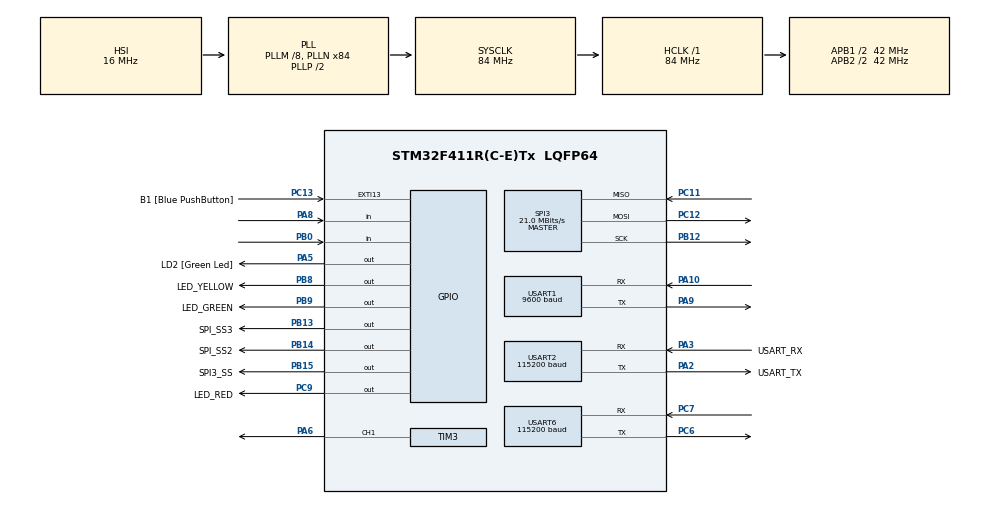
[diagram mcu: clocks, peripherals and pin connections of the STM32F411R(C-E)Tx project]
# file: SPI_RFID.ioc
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FREERTOS.Events01=scanCardAvailable,Dynamic,NULL;parsingCMDAvailable,Dynamic,NULL;servoControlIsAvailable,Dynamic,NULL
FREERTOS.Mutexes01=mutex_uart2,Dynamic,NULL;mutex_uart6,Dynamic,NULL
FREERTOS.Queues01=cardID_Queue,1,WareHouse_t,0,Dynamic,NULL,NULL;sensorData_Queue,3,WareHouse_t,0,Dynamic,NULL,NULL
FREERTOS.Tasks01=CmdParsing,8,256,CmdParsing_Task,Default,NULL,Dynamic,NULL,NULL;ToggleLed,8,128,ToggleLed_Task,Default,NULL,Dynamic,NULL,NULL;ScanCard,8,512,ScanCard_Task,Default,NULL,Dynamic,NULL,NULL;SensorMeasuring,8,512,SensorMeasuring_Task,Default,NULL,Dynamic,NULL,NULL;SendCardID,8,512,SendCardID_Task,Default,NULL,Dynamic,NULL,NULL;SendSensorData,8,512,SendSensorData_Task,Default,NULL,Dynamic,NULL,NULL;ServoControl,8,512,ServoControl_task,Default,NULL,Dynamic,NULL,NULL
FREERTOS.configUSE_NEWLIB_REENTRANT=1
Mcu.Family=STM32F4
Mcu.Name=STM32F411R(C-E)Tx
Mcu.Package=LQFP64
NVIC.PriorityGroup=NVIC_PRIORITYGROUP_4
NVIC.TIM4_IRQn=true\:15\:0\:false\:false\:true\:false\:false\:true
NVIC.TimeBase=TIM4_IRQn
NVIC.TimeBaseIP=TIM4
NVIC.USART1_IRQn=true\:5\:0\:false\:false\:true\:true\:true\:true
NVIC.USART6_IRQn=true\:5\:0\:false\:false\:true\:true\:true\:true
PA10.Mode=Asynchronous
PA10.Signal=USART1_RX
PA13.GPIO_Label=TMS
PA13.Mode=Serial_Wire
PA13.Signal=SYS_JTMS-SWDIO
PA14.GPIO_Label=TCK
PA14.Mode=Serial_Wire
PA14.Signal=SYS_JTCK-SWCLK
PA2.GPIO_Label=USART_TX
PA2.Mode=Asynchronous
PA2.Signal=USART2_TX
PA3.GPIO_Label=USART_RX
PA3.Mode=Asynchronous
PA3.Signal=USART2_RX
PA5.GPIO_Label=LD2 [Green Led]
PA5.Signal=GPIO_Output
PA6.Signal=S_TIM3_CH1
PA8.GPIO_PuPd=GPIO_PULLUP
PA8.Signal=GPIO_Input
PA9.Mode=Asynchronous
PA9.Signal=USART1_TX
PB0.GPIO_PuPd=GPIO_PULLUP
PB0.Signal=GPIO_Input
PB12.Mode=Full_Duplex_Master
PB12.Signal=SPI3_SCK
PB13.GPIO_Label=SPI_SS3
PB13.Signal=GPIO_Output
PB14.GPIO_Label=SPI_SS2
PB14.Signal=GPIO_Output
PB15.GPIO_Label=SPI3_SS
PB15.PinState=GPIO_PIN_SET
PB15.Signal=GPIO_Output
PB3.GPIO_Label=SWO
PB3.Signal=SYS_JTDO-SWO
PB8.GPIO_Label=LED_YELLOW
PB8.Signal=GPIO_Output
PB9.GPIO_Label=LED_GREEN
PB9.Signal=GPIO_Output
PC11.Mode=Full_Duplex_Master
PC11.Signal=SPI3_MISO
PC12.Mode=Full_Duplex_Master
PC12.Signal=SPI3_MOSI
PC13-ANTI_TAMP.GPIO_Label=B1 [Blue PushButton]
PC13-ANTI_TAMP.GPIO_ModeDefaultEXTI=GPIO_MODE_IT_FALLING
PC13-ANTI_TAMP.Signal=GPXTI13
PC14-OSC32_IN.Mode=LSE-External-Oscillator
PC14-OSC32_IN.Signal=RCC_OSC32_IN
PC15-OSC32_OUT.Mode=LSE-External-Oscillator
PC15-OSC32_OUT.Signal=RCC_OSC32_OUT
PC6.Mode=Asynchronous
PC6.Signal=USART6_TX
PC7.Mode=Asynchronous
PC7.Signal=USART6_RX
PC9.GPIO_Label=LED_RED
PC9.Signal=GPIO_Output
PH0\ -\ OSC_IN.Mode=HSE-External-Clock-Source
PH0\ -\ OSC_IN.Signal=RCC_OSC_IN
PH1\ -\ OSC_OUT.Mode=HSE-External-Clock-Source
PH1\ -\ OSC_OUT.Signal=RCC_OSC_OUT
ProjectManager.HeapSize=0x200
ProjectManager.StackSize=0x400
ProjectManager.TargetToolchain=STM32CubeIDE
RCC.48MHZClocksFreq_Value=42000000
RCC.AHBFreq_Value=84000000
RCC.APB1CLKDivider=RCC_HCLK_DIV2
RCC.APB1Freq_Value=42000000
RCC.APB1TimFreq_Value=84000000
RCC.APB2CLKDivider=RCC_HCLK_DIV2
RCC.APB2Freq_Value=42000000
RCC.APB2TimFreq_Value=84000000
RCC.CortexFreq_Value=84000000
RCC.FLatency-AdvancedSettings=FLASH_LATENCY_2
RCC.HCLKFreq_Value=84000000
RCC.HSE_VALUE=8000000
RCC.HSI_VALUE=16000000
RCC.PLLM=8
RCC.PLLN=84
RCC.SYSCLKFreq_VALUE=84000000
RCC.SYSCLKSource=RCC_SYSCLKSOURCE_PLLCLK
RCC.VCOOutputFreq_Value=168000000
SH.S_TIM3_CH1.0=TIM3_CH1,PWM Generation1 CH1
SPI3.CalculateBaudRate=21.0 MBits/s
SPI3.Direction=SPI_DIRECTION_2LINES
SPI3.Mode=SPI_MODE_MASTER
SPI3.VirtualType=VM_MASTER
TIM10.Prescaler=84-1
TIM3.Channel-PWM\ Generation1\ CH1=TIM_CHANNEL_1
TIM3.Period=19999
TIM3.Prescaler=83
USART1.BaudRate=9600
USART1.VirtualMode=VM_ASYNC
USART2.BaudRate=115200
USART2.VirtualMode=VM_ASYNC
USART6.BaudRate=115200
USART6.VirtualMode=VM_ASYNC
VP_FREERTOS_VS_CMSIS_V2.Mode=CMSIS_V2
VP_SYS_VS_tim4.Mode=TIM4
VP_TIM10_VS_ClockSourceINT.Mode=Enable_Timer
VP_TIM3_VS_ClockSourceINT.Mode=Internal
board=NUCLEO-F411RE

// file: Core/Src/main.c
/* USER CODE BEGIN Header */
/**
 ******************************************************************************
 * @file           : main.c
 * @brief          : Main program body
 ******************************************************************************
 * @attention
 *
 * <h2><center>&copy; Copyright (c) 2021 STMicroelectronics.
 * All rights reserved.</center></h2>
 *
 * This software component is licensed by ST under BSD 3-Clause license,
 * the "License"; You may not use this file except in compliance with the
 * License. You may obtain a copy of the License at:
 *                        opensource.org/licenses/BSD-3-Clause
 *
 ******************************************************************************
 */
/* USER CODE END Header */
#include "main.h"
#include "cmsis_os.h"

/* USER CODE BEGIN Includes */
#include <string.h>
#include <stdlib.h>
#include "MFRC522.h"
#include "dht11.h"
#include "servo.h"

/* USER CODE END Includes */

/* USER CODE BEGIN PD */

// type of data to send to server
#define Sensor_DATA 5
#define CardID_DATA 6

// type of command received from server
#define SCAN_CARDID 1
#define TOGGLE_LED  2
#define SENSOR_MEASURING 3

/* USER CODE END PD */

SPI_HandleTypeDef hspi3;

TIM_HandleTypeDef htim3;
TIM_HandleTypeDef htim10;

UART_HandleTypeDef huart1;
UART_HandleTypeDef huart2;
UART_HandleTypeDef huart6;

/* Definitions for CmdParsing */
osThreadId_t CmdParsingHandle;
const osThreadAttr_t CmdParsing_attributes = {
  .name = "CmdParsing",
  .stack_size = 256 * 4,
  .priority = (osPriority_t) osPriorityLow,
};
/* Definitions for ToggleLed */
osThreadId_t ToggleLedHandle;
const osThreadAttr_t ToggleLed_attributes = {
  .name = "ToggleLed",
  .stack_size = 128 * 4,
  .priority = (osPriority_t) osPriorityLow,
};
/* Definitions for ScanCard */
osThreadId_t ScanCardHandle;
const osThreadAttr_t ScanCard_attributes = {
  .name = "ScanCard",
  .stack_size = 512 * 4,
  .priority = (osPriority_t) osPriorityLow,
};
/* Definitions for SensorMeasuring */
osThreadId_t SensorMeasuringHandle;
const osThreadAttr_t SensorMeasuring_attributes = {
  .name = "SensorMeasuring",
  .stack_size = 512 * 4,
  .priority = (osPriority_t) osPriorityLow,
};
/* Definitions for SendCardID */
osThreadId_t SendCardIDHandle;
const osThreadAttr_t SendCardID_attributes = {
  .name = "SendCardID",
  .stack_size = 512 * 4,
  .priority = (osPriority_t) osPriorityLow,
};
/* Definitions for SendSensorData */
osThreadId_t SendSensorDataHandle;
const osThreadAttr_t SendSensorData_attributes = {
  .name = "SendSensorData",
  .stack_size = 512 * 4,
  .priority = (osPriority_t) osPriorityLow,
};
/* Definitions for ServoControl */
osThreadId_t ServoControlHandle;
const osThreadAttr_t ServoControl_attributes = {
  .name = "ServoControl",
  .stack_size = 512 * 4,
  .priority = (osPriority_t) osPriorityLow,
};
/* Definitions for cardID_Queue */
osMessageQueueId_t cardID_QueueHandle;
const osMessageQueueAttr_t cardID_Queue_attributes = {
  .name = "cardID_Queue"
};
/* Definitions for sensorData_Queue */
osMessageQueueId_t sensorData_QueueHandle;
const osMessageQueueAttr_t sensorData_Queue_attributes = {
  .name = "sensorData_Queue"
};
/* Definitions for mutex_uart2 */
osMutexId_t mutex_uart2Handle;
const osMutexAttr_t mutex_uart2_attributes = {
  .name = "mutex_uart2"
};
/* Definitions for mutex_uart6 */
osMutexId_t mutex_uart6Handle;
const osMutexAttr_t mutex_uart6_attributes = {
  .name = "mutex_uart6"
};
/* Definitions for scanCardAvailable */
osEventFlagsId_t scanCardAvailableHandle;
const osEventFlagsAttr_t scanCardAvailable_attributes = {
  .name = "scanCardAvailable"
};
/* Definitions for parsingCMDAvailable */
osEventFlagsId_t parsingCMDAvailableHandle;
const osEventFlagsAttr_t parsingCMDAvailable_attributes = {
  .name = "parsingCMDAvailable"
};
/* Definitions for servoControlIsAvailable */
osEventFlagsId_t servoControlIsAvailableHandle;
const osEventFlagsAttr_t servoControlIsAvailable_attributes = {
  .name = "servoControlIsAvailable"
};

void SystemClock_Config(void);
static void MX_GPIO_Init(void);
static void MX_USART2_UART_Init(void);
static void MX_SPI3_Init(void);
static void MX_USART6_UART_Init(void);
static void MX_USART1_UART_Init(void);
static void MX_TIM10_Init(void);
static void MX_TIM3_Init(void);
void CmdParsing_Task(void *argument);
void ToggleLed_Task(void *argument);
void ScanCard_Task(void *argument);
void SensorMeasuring_Task(void *argument);
void SendCardID_Task(void *argument);
void SendSensorData_Task(void *argument);
void ServoControl_task(void *argument);

/* USER CODE BEGIN PFP */
void sendDataToServer(volatile WareHouse_t* wareHouse, uint8_t typeOfData);
void scanCardIdHandle(uint8_t wareHouseId);
void toggleLEDHanlde(uint8_t wareHouseId, uint8_t ledId, uint8_t state);
/* USER CODE END PFP */

/* USER CODE BEGIN 0 */

//**** Data to working with FRID ****
extern uchar senddata[];
extern uchar keyA[6];
extern uchar keyA_new[6];
extern uchar keyB[6] ;
extern uchar keyB_new[6];

//**** Data of ware house ****
volatile WareHouse_t wareHouse_1, wareHouse_2, wareHouse_3;

volatile char uartReceivedData[16];

volatile uint8_t receivedDataFromServer[8]={0};

volatile uint8_t sensorMeasuringIsEnable = 1;

volatile uint8_t cmdToSend[8]={0}; 		// this is used for send CMD to Slave

volatile DHT_DataTypeDef DHT_Data;	// Data to store temperature and humidity

//**** RTOS object ****
osMutexId_t mutex_id;

/* USER CODE END 0 */

int main(void)
{
  /* USER CODE BEGIN 1 */
	wareHouse_1.index = 1;
	wareHouse_2.index = 2;
	wareHouse_3.index = 3;

  /* USER CODE END 1 */

  /* MCU Configuration--------------------------------------------------------*/

  /* Reset of all peripherals, Initializes the Flash interface and the Systick. */
  HAL_Init();

  /* Configure the system clock */
  SystemClock_Config();

  /* Initialize all configured peripherals */
  MX_GPIO_Init();
  MX_USART2_UART_Init();
  MX_SPI3_Init();
  MX_USART6_UART_Init();
  MX_USART1_UART_Init();
  MX_TIM10_Init();
  MX_TIM3_Init();
  /* USER CODE BEGIN 2 */
  MFRC522_Init();
  HAL_UART_Transmit(&huart2, (uchar*) "\n\rSerial Connected...\n\r", 23, 5000);

  /* USER CODE END 2 */

  /* Init scheduler */
  osKernelInitialize();
  /* Create the mutex(es) */
  /* creation of mutex_uart2 */
  mutex_uart2Handle = osMutexNew(&mutex_uart2_attributes);

  /* creation of mutex_uart6 */
  mutex_uart6Handle = osMutexNew(&mutex_uart6_attributes);

  /* Create the queue(s) */
  /* creation of cardID_Queue */
  cardID_QueueHandle = osMessageQueueNew (1, sizeof(WareHouse_t), &cardID_Queue_attributes);

  /* creation of sensorData_Queue */
  sensorData_QueueHandle = osMessageQueueNew (3, sizeof(WareHouse_t), &sensorData_Queue_attributes);

  /* Create the thread(s) */
  /* creation of CmdParsing */
  CmdParsingHandle = osThreadNew(CmdParsing_Task, NULL, &CmdParsing_attributes);

  /* creation of ToggleLed */
  ToggleLedHandle = osThreadNew(ToggleLed_Task, NULL, &ToggleLed_attributes);

  /* creation of ScanCard */
  ScanCardHandle = osThreadNew(ScanCard_Task, NULL, &ScanCard_attributes);

  /* creation of SensorMeasuring */
  SensorMeasuringHandle = osThreadNew(SensorMeasuring_Task, NULL, &SensorMeasuring_attributes);

  /* creation of SendCardID */
  SendCardIDHandle = osThreadNew(SendCardID_Task, NULL, &SendCardID_attributes);

  /* creation of SendSensorData */
  SendSensorDataHandle = osThreadNew(SendSensorData_Task, NULL, &SendSensorData_attributes);

  /* creation of ServoControl */
  ServoControlHandle = osThreadNew(ServoControl_task, NULL, &ServoControl_attributes);

  /* creation of scanCardAvailable */
  scanCardAvailableHandle = osEventFlagsNew(&scanCardAvailable_attributes);

  /* creation of parsingCMDAvailable */
  parsingCMDAvailableHandle = osEventFlagsNew(&parsingCMDAvailable_attributes);

  /* creation of servoControlIsAvailable */
  servoControlIsAvailableHandle = osEventFlagsNew(&servoControlIsAvailable_attributes);

  /* Start scheduler */
  osKernelStart();

  /* We should never get here as control is now taken by the scheduler */
  /* Infinite loop */
	while (1) {

	}
}

void SystemClock_Config(void)
{
  RCC_OscInitTypeDef RCC_OscInitStruct = {0};
  RCC_ClkInitTypeDef RCC_ClkInitStruct = {0};

  /** Configure the main internal regulator output voltage
  */
  __HAL_RCC_PWR_CLK_ENABLE();
  __HAL_PWR_VOLTAGESCALING_CONFIG(PWR_REGULATOR_VOLTAGE_SCALE1);
  /** Initializes the RCC Oscillators according to the specified parameters
  * in the RCC_OscInitTypeDef structure.
  */
  RCC_OscInitStruct.OscillatorType = RCC_OSCILLATORTYPE_HSI;
  RCC_OscInitStruct.HSIState = RCC_HSI_ON;
  RCC_OscInitStruct.HSICalibrationValue = RCC_HSICALIBRATION_DEFAULT;
  RCC_OscInitStruct.PLL.PLLState = RCC_PLL_ON;
  RCC_OscInitStruct.PLL.PLLSource = RCC_PLLSOURCE_HSI;
  RCC_OscInitStruct.PLL.PLLM = 8;
  RCC_OscInitStruct.PLL.PLLN = 84;
  RCC_OscInitStruct.PLL.PLLP = RCC_PLLP_DIV2;
  RCC_OscInitStruct.PLL.PLLQ = 4;
  if (HAL_RCC_OscConfig(&RCC_OscInitStruct) != HAL_OK)
  {
    Error_Handler();
  }
  /** Initializes the CPU, AHB and APB buses clocks
  */
  RCC_ClkInitStruct.ClockType = RCC_CLOCKTYPE_HCLK|RCC_CLOCKTYPE_SYSCLK
                              |RCC_CLOCKTYPE_PCLK1|RCC_CLOCKTYPE_PCLK2;
  RCC_ClkInitStruct.SYSCLKSource = RCC_SYSCLKSOURCE_PLLCLK;
  RCC_ClkInitStruct.AHBCLKDivider = RCC_SYSCLK_DIV1;
  RCC_ClkInitStruct.APB1CLKDivider = RCC_HCLK_DIV2;
  RCC_ClkInitStruct.APB2CLKDivider = RCC_HCLK_DIV2;

  if (HAL_RCC_ClockConfig(&RCC_ClkInitStruct, FLASH_LATENCY_2) != HAL_OK)
  {
    Error_Handler();
  }
}

static void MX_SPI3_Init(void)
{

  /* SPI3 parameter configuration*/
  hspi3.Instance = SPI3;
  hspi3.Init.Mode = SPI_MODE_MASTER;
  hspi3.Init.Direction = SPI_DIRECTION_2LINES;
  hspi3.Init.DataSize = SPI_DATASIZE_8BIT;
  hspi3.Init.CLKPolarity = SPI_POLARITY_LOW;
  hspi3.Init.CLKPhase = SPI_PHASE_1EDGE;
  hspi3.Init.NSS = SPI_NSS_SOFT;
  hspi3.Init.BaudRatePrescaler = SPI_BAUDRATEPRESCALER_2;
  hspi3.Init.FirstBit = SPI_FIRSTBIT_MSB;
  hspi3.Init.TIMode = SPI_TIMODE_DISABLE;
  hspi3.Init.CRCCalculation = SPI_CRCCALCULATION_DISABLE;
  hspi3.Init.CRCPolynomial = 10;
  if (HAL_SPI_Init(&hspi3) != HAL_OK)
  {
    Error_Handler();
  }

}

static void MX_TIM3_Init(void)
{

  TIM_ClockConfigTypeDef sClockSourceConfig = {0};
  TIM_MasterConfigTypeDef sMasterConfig = {0};
  TIM_OC_InitTypeDef sConfigOC = {0};

  htim3.Instance = TIM3;
  htim3.Init.Prescaler = 83;
  htim3.Init.CounterMode = TIM_COUNTERMODE_UP;
  htim3.Init.Period = 19999;
  htim3.Init.ClockDivision = TIM_CLOCKDIVISION_DIV1;
  htim3.Init.AutoReloadPreload = TIM_AUTORELOAD_PRELOAD_DISABLE;
  if (HAL_TIM_Base_Init(&htim3) != HAL_OK)
  {
    Error_Handler();
  }
  sClockSourceConfig.ClockSource = TIM_CLOCKSOURCE_INTERNAL;
  if (HAL_TIM_ConfigClockSource(&htim3, &sClockSourceConfig) != HAL_OK)
  {
    Error_Handler();
  }
  if (HAL_TIM_PWM_Init(&htim3) != HAL_OK)
  {
    Error_Handler();
  }
  sMasterConfig.MasterOutputTrigger = TIM_TRGO_RESET;
  sMasterConfig.MasterSlaveMode = TIM_MASTERSLAVEMODE_DISABLE;
  if (HAL_TIMEx_MasterConfigSynchronization(&htim3, &sMasterConfig) != HAL_OK)
  {
    Error_Handler();
  }
  sConfigOC.OCMode = TIM_OCMODE_PWM1;
  sConfigOC.Pulse = 0;
  sConfigOC.OCPolarity = TIM_OCPOLARITY_HIGH;
  sConfigOC.OCFastMode = TIM_OCFAST_DISABLE;
  if (HAL_TIM_PWM_ConfigChannel(&htim3, &sConfigOC, TIM_CHANNEL_1) != HAL_OK)
  {
    Error_Handler();
  }
  HAL_TIM_MspPostInit(&htim3);

}

static void MX_TIM10_Init(void)
{

  htim10.Instance = TIM10;
  htim10.Init.Prescaler = 84-1;
  htim10.Init.CounterMode = TIM_COUNTERMODE_UP;
  htim10.Init.Period = 65535;
  htim10.Init.ClockDivision = TIM_CLOCKDIVISION_DIV1;
  htim10.Init.AutoReloadPreload = TIM_AUTORELOAD_PRELOAD_DISABLE;
  if (HAL_TIM_Base_Init(&htim10) != HAL_OK)
  {
    Error_Handler();
  }

}

static void MX_USART1_UART_Init(void)
{

  huart1.Instance = USART1;
  huart1.Init.BaudRate = 9600;
  huart1.Init.WordLength = UART_WORDLENGTH_8B;
  huart1.Init.StopBits = UART_STOPBITS_1;
  huart1.Init.Parity = UART_PARITY_NONE;
  huart1.Init.Mode = UART_MODE_TX_RX;
  huart1.Init.HwFlowCtl = UART_HWCONTROL_NONE;
  huart1.Init.OverSampling = UART_OVERSAMPLING_16;
  if (HAL_UART_Init(&huart1) != HAL_OK)
  {
    Error_Handler();
  }

}

static void MX_USART2_UART_Init(void)
{

  huart2.Instance = USART2;
  huart2.Init.BaudRate = 115200;
  huart2.Init.WordLength = UART_WORDLENGTH_8B;
  huart2.Init.StopBits = UART_STOPBITS_1;
  huart2.Init.Parity = UART_PARITY_NONE;
  huart2.Init.Mode = UART_MODE_TX_RX;
  huart2.Init.HwFlowCtl = UART_HWCONTROL_NONE;
  huart2.Init.OverSampling = UART_OVERSAMPLING_16;
  if (HAL_UART_Init(&huart2) != HAL_OK)
  {
    Error_Handler();
  }

}

static void MX_USART6_UART_Init(void)
{

  huart6.Instance = USART6;
  huart6.Init.BaudRate = 115200;
  huart6.Init.WordLength = UART_WORDLENGTH_8B;
  huart6.Init.StopBits = UART_STOPBITS_1;
  huart6.Init.Parity = UART_PARITY_NONE;
  huart6.Init.Mode = UART_MODE_TX_RX;
  huart6.Init.HwFlowCtl = UART_HWCONTROL_NONE;
  huart6.Init.OverSampling = UART_OVERSAMPLING_16;
  if (HAL_UART_Init(&huart6) != HAL_OK)
  {
    Error_Handler();
  }

}

static void MX_GPIO_Init(void)
{
  GPIO_InitTypeDef GPIO_InitStruct = {0};

  /* GPIO Ports Clock Enable */
  __HAL_RCC_GPIOC_CLK_ENABLE();
  __HAL_RCC_GPIOH_CLK_ENABLE();
  __HAL_RCC_GPIOA_CLK_ENABLE();
  __HAL_RCC_GPIOB_CLK_ENABLE();

  /*Configure GPIO pin Output Level */
  HAL_GPIO_WritePin(LD2_GPIO_Port, LD2_Pin, GPIO_PIN_RESET);

  /*Configure GPIO pin Output Level */
  HAL_GPIO_WritePin(GPIOB, SPI_SS3_Pin|SPI_SS2_Pin|LED_YELLOW_Pin|LED_GREEN_Pin, GPIO_PIN_RESET);

  /*Configure GPIO pin Output Level */
  HAL_GPIO_WritePin(SPI3_SS_GPIO_Port, SPI3_SS_Pin, GPIO_PIN_SET);

  /*Configure GPIO pin Output Level */
  HAL_GPIO_WritePin(LED_RED_GPIO_Port, LED_RED_Pin, GPIO_PIN_RESET);

  /*Configure GPIO pin : B1_Pin */
  GPIO_InitStruct.Pin = B1_Pin;
  GPIO_InitStruct.Mode = GPIO_MODE_IT_FALLING;
  GPIO_InitStruct.Pull = GPIO_NOPULL;
  HAL_GPIO_Init(B1_GPIO_Port, &GPIO_InitStruct);

  /*Configure GPIO pin : LD2_Pin */
  GPIO_InitStruct.Pin = LD2_Pin;
  GPIO_InitStruct.Mode = GPIO_MODE_OUTPUT_PP;
  GPIO_InitStruct.Pull = GPIO_NOPULL;
  GPIO_InitStruct.Speed = GPIO_SPEED_FREQ_LOW;
  HAL_GPIO_Init(LD2_GPIO_Port, &GPIO_InitStruct);

  /*Configure GPIO pin : PB0 */
  GPIO_InitStruct.Pin = GPIO_PIN_0;
  GPIO_InitStruct.Mode = GPIO_MODE_INPUT;
  GPIO_InitStruct.Pull = GPIO_PULLUP;
  HAL_GPIO_Init(GPIOB, &GPIO_InitStruct);

  /*Configure GPIO pins : SPI_SS3_Pin SPI_SS2_Pin SPI3_SS_Pin LED_YELLOW_Pin
                           LED_GREEN_Pin */
  GPIO_InitStruct.Pin = SPI_SS3_Pin|SPI_SS2_Pin|SPI3_SS_Pin|LED_YELLOW_Pin
                          |LED_GREEN_Pin;
  GPIO_InitStruct.Mode = GPIO_MODE_OUTPUT_PP;
  GPIO_InitStruct.Pull = GPIO_NOPULL;
  GPIO_InitStruct.Speed = GPIO_SPEED_FREQ_LOW;
  HAL_GPIO_Init(GPIOB, &GPIO_InitStruct);

  /*Configure GPIO pin : LED_RED_Pin */
  GPIO_InitStruct.Pin = LED_RED_Pin;
  GPIO_InitStruct.Mode = GPIO_MODE_OUTPUT_PP;
  GPIO_InitStruct.Pull = GPIO_NOPULL;
  GPIO_InitStruct.Speed = GPIO_SPEED_FREQ_LOW;
  HAL_GPIO_Init(LED_RED_GPIO_Port, &GPIO_InitStruct);

  /*Configure GPIO pin : PA8 */
  GPIO_InitStruct.Pin = GPIO_PIN_8;
  GPIO_InitStruct.Mode = GPIO_MODE_INPUT;
  GPIO_InitStruct.Pull = GPIO_PULLUP;
  HAL_GPIO_Init(GPIOA, &GPIO_InitStruct);

}

/* USER CODE BEGIN 4 */

void HAL_UART_RxCpltCallback(UART_HandleTypeDef *huart)
{
	if (huart == &huart6){
		osEventFlagsSet(parsingCMDAvailableHandle, 0x00000001U);
		HAL_UART_Receive_IT(&huart6, (uint8_t*)receivedDataFromServer, 8);
	}

//	if(huart == &huart1){
//		for(int i = 0; i<16; i++){
//			uchar temp[3];
//			sprintf((char*)temp, (const char*)"%02x ", (char)wareHouse_2.idOfScannedCard[i]);
//			HAL_UART_Transmit(&huart2, temp, 3, HAL_MAX_DELAY);
//		}
//	}
}

void sendDataToServer(volatile WareHouse_t* wareHouse, uint8_t typeOfData){

	uchar dataToSend[18]={0};

	switch(typeOfData){
		case Sensor_DATA:
			dataToSend[0] = wareHouse->temperature;
			dataToSend[1] = wareHouse->humidity;
			dataToSend[17] = wareHouse->index;
			break;
		case CardID_DATA:
			for(int i = 0; i<16; i++){
				dataToSend[i]=wareHouse->idOfScannedCard[i];
			}
			dataToSend[17] = wareHouse->index;
			break;
	}

	dataToSend[16] = typeOfData;

	HAL_UART_Transmit(&huart6, dataToSend, 18, HAL_MAX_DELAY);

}

void scanCardIdHandle(uint8_t wareHouseId){
	switch(wareHouseId){
	case 1:
		while(1){
			if( ScanCardAndGetDataFromBlock(0, wareHouse_1.idOfScannedCard, keyA) == MI_OK){
					for(int i = 0; i<16; i++){
						uchar temp[3];
						sprintf((char*)temp, (const char*)"%02x ", (char)wareHouse_1.idOfScannedCard[i]);
						HAL_UART_Transmit(&huart2, temp, 3, HAL_MAX_DELAY);
					}
					HAL_UART_Transmit(&huart2, (uint8_t*)"\n\r", 2, HAL_MAX_DELAY);

					// Send cardID to the cardID_Queue
					osMessageQueuePut(cardID_QueueHandle, &wareHouse_1, 0U, osWaitForever);

					return;
				}
		}
		break;
	case 2:
		// Send Cmd to warehouse2 (stm32 slave) to update value of warehouse2
		cmdToSend[0] = SCAN_CARDID;

		HAL_UART_Transmit(&huart1, cmdToSend, 8, HAL_MAX_DELAY);
		osDelay(10);
		HAL_UART_Receive(&huart1, wareHouse_2.idOfScannedCard, 16, HAL_MAX_DELAY);

		for(int i = 0; i<16; i++){
			uchar temp[3];
			sprintf((char*)temp, (const char*)"%02x ", (char)wareHouse_2.idOfScannedCard[i]);
			HAL_UART_Transmit(&huart2, temp, 3, HAL_MAX_DELAY);
		}

		osMessageQueuePut(cardID_QueueHandle, &wareHouse_2, 0U, osWaitForever);
		break;
	default:
		break;
	}
}

void toggleLEDHanlde(uint8_t wareHouseId, uint8_t ledId, uint8_t state){

	switch(wareHouseId){
		case 1:
			if(ledId == 1){
				HAL_GPIO_WritePin(LED_GREEN_GPIO_Port, LED_GREEN_Pin, state);
			}else if(ledId == 2){
				HAL_GPIO_WritePin(LED_YELLOW_GPIO_Port, LED_YELLOW_Pin, state);
			}else if(ledId == 3){
				HAL_GPIO_WritePin(LED_RED_GPIO_Port, LED_RED_Pin, state);
				osEventFlagsSet(servoControlIsAvailableHandle, 0x00000001U);
			}

			break;
		case 2:
			// Send cmd to warehouse2 to set state of led
			cmdToSend[0] = TOGGLE_LED;
			cmdToSend[1] =  ledId;
			cmdToSend[2] =  state;
			HAL_UART_Transmit(&huart1, cmdToSend, 8, 1000);
		default:
			break;
		}
}

/**********************************************************************************************************/

/* USER CODE END 4 */

void CmdParsing_Task(void *argument)
{
  /* USER CODE BEGIN 5 */
  HAL_UART_Receive_IT(&huart6, (uint8_t*)receivedDataFromServer, 8);
  /* Infinite loop */
  for(;;)
  {
	// Wait for flag to parsing comming CMD
	osEventFlagsWait(parsingCMDAvailableHandle, 0x00000001U, osFlagsWaitAny, osWaitForever);

	// Parsing CMD
	switch(receivedDataFromServer[0]){
	case SCAN_CARDID:
		osEventFlagsSet(scanCardAvailableHandle, 0x00000001U);
		break;
	case TOGGLE_LED:
		toggleLEDHanlde(receivedDataFromServer[1], receivedDataFromServer[2], receivedDataFromServer[3]);
		break;
	case SENSOR_MEASURING:
			//dosomething
		sensorMeasuringIsEnable = receivedDataFromServer[7];
		break;
	}

    osDelay(1);
  }
  /* USER CODE END 5 */
}

void ToggleLed_Task(void *argument)
{
  for(;;)
  {
	  osDelay(1);
  }
}

void ScanCard_Task(void *argument)
{
  /* USER CODE BEGIN ScanCard_Task */

  /* Infinite loop */
  for(;;)
  {
	// Wait for scan flag
	osEventFlagsWait(scanCardAvailableHandle, 0x00000001U, osFlagsWaitAny, osWaitForever);

	// Mutex protect for uart2 start
//	osMutexAcquire(mutex_uart2Handle, osWaitForever);

	// Scan card id in ware house (id = receivedDataFromServer[1]) and send data to queue to SendCardID_Task
	scanCardIdHandle(receivedDataFromServer[1]);

	// Mutex protect for uart2 end
//	osMutexRelease(mutex_uart2Handle);

    osDelay(1);
  }
  /* USER CODE END ScanCard_Task */
}

void SensorMeasuring_Task(void *argument)
{
  /* USER CODE BEGIN SensorMeasuring_Task */
  /* Infinite loop */
	HAL_TIM_Base_Start(&htim10);
  for(;;)
  {
	  if(sensorMeasuringIsEnable){
		DHT11_GetData(&DHT_Data);
		wareHouse_1.humidity = DHT_Data.Humidity;
		wareHouse_1.temperature = DHT_Data.Temperature;
		osMessageQueuePut(sensorData_QueueHandle, &wareHouse_1, NULL, osWaitForever);
	  }

	  osDelay(1000);

	  if(sensorMeasuringIsEnable){
		//Send Cmd to warehouse2 to get humidity and temperature
		cmdToSend[0] = SENSOR_MEASURING;
		HAL_UART_Transmit(&huart1, cmdToSend, 8, HAL_MAX_DELAY);
		HAL_UART_Receive(&huart1, &wareHouse_2.humidity, 1, 1000);
		HAL_UART_Receive(&huart1, &wareHouse_2.temperature, 1, 1000);
		osMessageQueuePut(sensorData_QueueHandle, &wareHouse_2, NULL, osWaitForever);
	  }
	  osDelay(1000);

  }
  /* USER CODE END SensorMeasuring_Task */
}

void SendCardID_Task(void *argument)
{
  /* USER CODE BEGIN SendCardID_Task */
	WareHouse_t wareHouse;
  /* Infinite loop */
  for(;;)
  {
	// wait for data from queue
	osMessageQueueGet(cardID_QueueHandle, &wareHouse, NULL, osWaitForever);

	// Mutex protect for uart6 (connect to Esp) start
	osMutexAcquire(mutex_uart6Handle, osWaitForever);

	// send Data to ESP8266 -> Sever
	sendDataToServer(&wareHouse, CardID_DATA);

	// Mutex protect for uart6 end
	osMutexRelease(mutex_uart6Handle);

    osDelay(1);
  }
  /* USER CODE END SendCardID_Task */
}

void SendSensorData_Task(void *argument)
{
  /* USER CODE BEGIN SendSensorData_Task */
	WareHouse_t wareHouse;

  /* Infinite loop */
  for(;;)
  {
	// wait for data from queue
	osMessageQueueGet(sensorData_QueueHandle, &wareHouse, NULL, osWaitForever);

	// Mutex protect for uart6 (connect to Esp) start
	osMutexAcquire(mutex_uart6Handle, osWaitForever);

	// send Data to ESP8266 -> Sever
	sendDataToServer(&wareHouse, Sensor_DATA);

	// Mutex protect for uart6 end
	osMutexRelease(mutex_uart6Handle);

    osDelay(1);
  }
  /* USER CODE END SendSensorData_Task */
}

void ServoControl_task(void *argument)
{
  /* USER CODE BEGIN ServoControl_task */
	Servo_Write(&htim3, TIM_CHANNEL_1, 90);
	int isOpen = 0;
  /* Infinite loop */
  for(;;)
  {
	osEventFlagsWait(servoControlIsAvailableHandle, 0x00000001U, osFlagsWaitAny, osWaitForever);
	if(isOpen == 0){
		Servo_Write(&htim3, TIM_CHANNEL_1, 0);
		isOpen = 1;
	}else {
		Servo_Write(&htim3, TIM_CHANNEL_1, 90);
		isOpen = 0;
	}

	osDelay(1);
  }
  /* USER CODE END ServoControl_task */
}

void HAL_TIM_PeriodElapsedCallback(TIM_HandleTypeDef *htim)
{
  if (htim->Instance == TIM4) {
    HAL_IncTick();
  }
}

void Error_Handler(void)
{
	__disable_irq();
	while (1) {
	}
}

/************************ (C) COPYRIGHT STMicroelectronics *****END OF FILE****/
